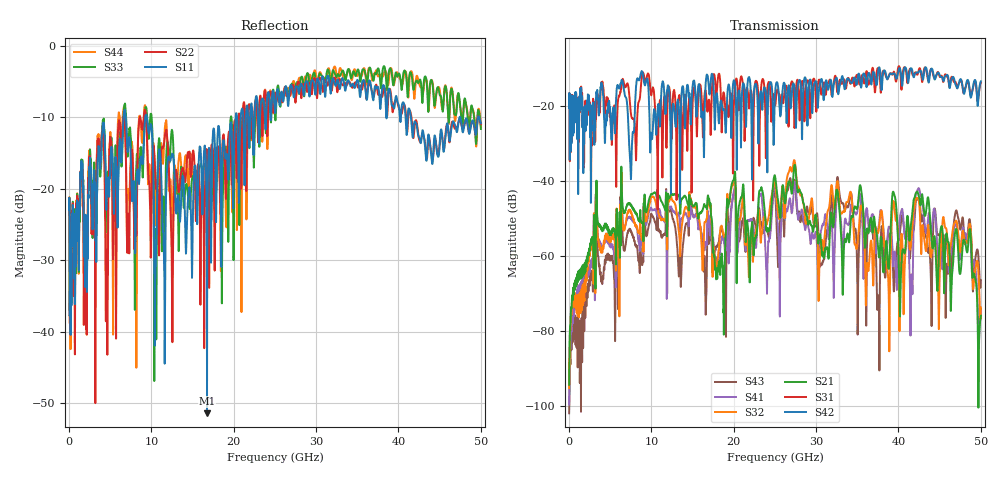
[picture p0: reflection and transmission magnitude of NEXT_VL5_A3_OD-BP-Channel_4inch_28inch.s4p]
#	Hz	S	RI	R	50
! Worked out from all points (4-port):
!   2500 points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, 20 MHz to 50 GHz, reference 50 ohm
!   strongest paths, dB at 20 MHz, 12.52 GHz, 25.02 GHz, 37.52 GHz, 50 GHz:
!     S42: -20.5, -21.7, -16.7, -10.9, -13.4
!     S31: -20.5, -23.0, -19.7, -9.8, -13.7
!     S21: -94.3, -43.6, -38.7, -57.8, -75.9
!     S32: -95.2, -45.0, -40.4, -53.8, -73.8
!     S41: -99.6, -47.5, -41.2, -52.9, -74.1
!     S43: -102.0, -49.3, -43.3, -70.7, -66.5
!   lowest |S11| = -51.4 dB at 16.76 GHz (marker M1), VSWR 1.01, Z = 49.9 + j0.245 ohm
!   |S11| at or under -10 dB: start of sweep to 6.641 GHz; 9.449 GHz to 20.24 GHz (10.79 GHz wide, 72.7 % of centre); 41.51 GHz to 47.4 GHz (5.892 GHz wide, 13.3 % of centre)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
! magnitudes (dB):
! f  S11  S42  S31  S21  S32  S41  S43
! 20 MHz  -22.9  -20.5  -20.5  -94.3  -95.2  -99.6  -102.0
! 6.38 GHz  -16.0  -13.1  -14.1  -39.1  -41.3  -40.3  -42.2
! 16.76 GHz  -51.4  -11.6  -20.7  -47.4  -49.2  -54.0  -56.9
! 18.6 GHz  -17.0  -20.2  -22.2  -62.3  -52.8  -55.5  -53.5
! 41.52 GHz  -10.1  -9.9  -10.2  -51.4  -56.6  -68.5  -56.4
! 42.4 GHz  -12.5  -11.0  -10.9  -43.5  -44.8  -41.9  -45.0
! 50 GHz  -10.8  -13.4  -13.7  -75.9  -73.8  -74.1  -66.5
